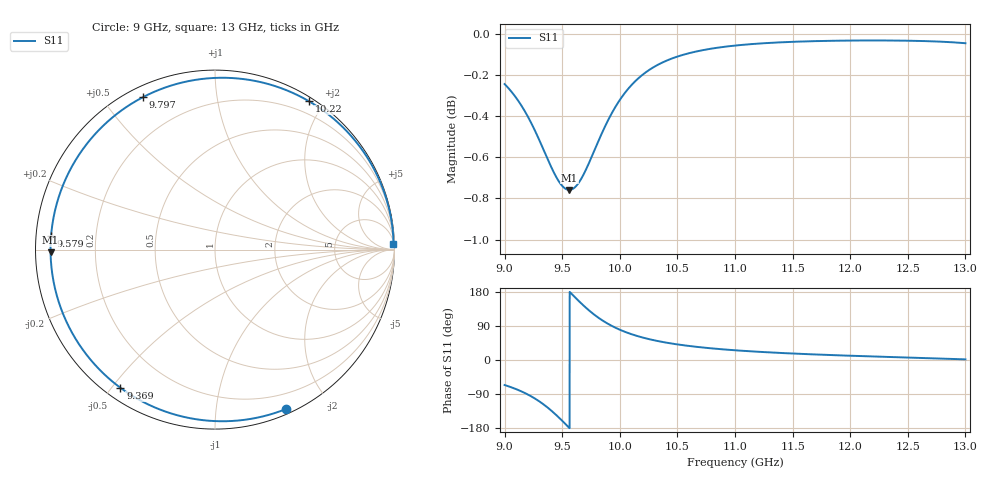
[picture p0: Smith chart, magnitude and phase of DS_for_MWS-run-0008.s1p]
! TOUCHSTONE file generated by CST DESIGN STUDIO
! Date and time: Tue Feb  4 14:31:35 2025
! Project name: C:\Work\MatlabApps\UnitCellOptimizationMatlab\CST\unitcell.cst
! Tree item: Tasks\Sweep1\SPara1\S-Parameters
! Header version: 2024
! Port assignment regex: !\s*Touchstone port\s*([0-9]+)\s*=\s*(CST MWS port|CST DES external port|CST DES block port)\s*(.+)\s* \(\"(.*)\"\)(\s*mode\s*([0-9]+))?.*
! Touchstone port assignment:
! Touchstone port 1 = CST DES external port 1 ("")
# GHz S MA R 50
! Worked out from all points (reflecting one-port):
!   4001 points, 9 GHz to 13 GHz, reference 50 ohm
!   lowest |S11| = -0.8 dB at 9.561 GHz (marker M1), VSWR 22.91, Z = 2.18 - j0.413 ohm
!   phase of S11 starts at -66 deg and turns -292 deg over the sweep
!   S11 on the Smith chart (normalised r, x): 9 GHz: 0.05, -1.54; 9.369 GHz: 0.04, -0.53; 9.579 GHz: 0.04, +0.04; 9.797 GHz: 0.04, +0.63; 10.22 GHz: 0.05, +1.82; 13 GHz: 12, +66
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9  0.9723 -66.1
9.042  0.9694 -70.3
9.109  0.964 -78.0
9.222  0.9524 -94.4
9.3  0.9424 -108.9
9.369  0.9329 -124.4
9.433  0.9247 -141.0
9.5  0.9184 -160.4
9.531  0.9169 -169.8
9.561  0.9163 -179.1
9.579  0.9165 175.4
9.633  0.9192 158.9
9.694  0.9253 141.2
9.745  0.932 127.7
9.797  0.9393 115.4
9.841  0.9454 106.0
9.888  0.9515 97.1
10  0.9637 79.9
10.104  0.9719 67.8
10.219  0.9784 57.6
10.349  0.9834 48.9
10.5  0.9873 41.1
10.721  0.9909 32.9
11  0.9934 25.7
11.5  0.9955 17.1
12  0.9962 11.3
12.5  0.9961 6.5
13  0.9947 1.7
